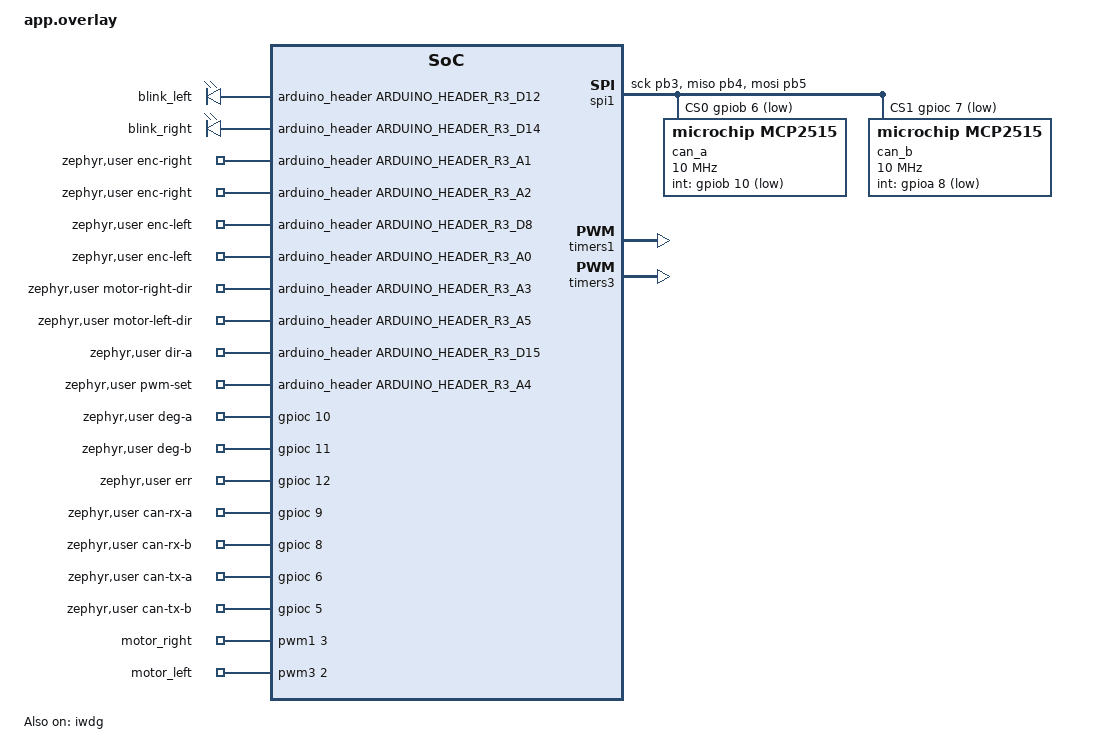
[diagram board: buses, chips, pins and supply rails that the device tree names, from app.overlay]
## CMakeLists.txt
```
cmake_minimum_required(VERSION 3.20.0)
find_package(Zephyr REQUIRED HINTS $ENV{ZEPHYR_BASE})
project(stm32_rear)

# N3, the drivetrain zone
target_compile_definitions(app PRIVATE NODE_ID=3)

set(COMMON ${CMAKE_CURRENT_SOURCE_DIR}/../stm32-common)

target_sources(app PRIVATE src/main.c src/drive.c src/motor.c src/encoder.c ${COMMON}/src/canbus.c ${COMMON}/src/relay.c
	${COMMON}/src/ctrl.c ${COMMON}/src/errorstate.c ${COMMON}/src/blinker.c)
target_include_directories(app PRIVATE include ${COMMON}/include)
```

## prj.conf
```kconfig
CONFIG_GPIO=y
CONFIG_PWM=y
CONFIG_CAN=y
CONFIG_CRC=y
CONFIG_WATCHDOG=y

# Debug: print the reset cause at boot (was it the watchdog?)
CONFIG_HWINFO=y

# Hardware floats for the PID; sharing so any thread may use them safely
CONFIG_FPU=y
CONFIG_FPU_SHARING=y

# main only does init and test prints: keep it below every app thread (1-3)
CONFIG_MAIN_THREAD_PRIORITY=10
```

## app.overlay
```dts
/*
 * N3 (rear, drivetrain) pin assignments for the Nucleo-F401RE.
 *
 * The CAN wiring is the same as the front node (stm32-front/app.overlay), so
 * both boards are wired the same way and stm32-can-test runs on either.
 * Lab 2 pins that sat on CAN pins were moved:
 *   left motor PWM D4 -> D11, motor dirs D3/D5 -> A3/A5, RL D11 -> D12,
 *   RR D10 -> D14, encoders D6/D7/D9 -> A0/A1/A2 (left A stays on D8).
 *
 * Pitfalls:
 * - The board file already gives many header pins to SPI/I2C/UART/PWM/ADC.
 *   The build does NOT flag two users of one pin; the last driver to set it
 *   wins. Before enabling a board peripheral, check its pins against this file.
 * - GPIOs use Arduino names (D2, A5); PWM pinctrl uses MCU names (PA10).
 *   Both refer to the same pins.
 * - STM32 has one EXTI line per pin number across all ports, so interrupt
 *   pins must all have different numbers. In use: CAN INT 10 and 8,
 *   encoders 9, 0, 1, 4, test button 13.
 * - The KiCad symbol calls D14/D15 "SDA/A4" and "SCL/A5". On the Nucleo they
 *   are PB9/PB8, separate from A4/A5 (PC1/PC0).
 */

/ {
	aliases {
		can-a = &can_a;
		can-b = &can_b;
	};
};

/* Both MCP2515s on SPI1, moved to D3-D5 to free D11-D13 */
&spi1 {
	status = "okay";
	pinctrl-0 = <&spi1_sck_pb3 &spi1_miso_pb4 &spi1_mosi_pb5>;	/* D3, D5, D4 */
	pinctrl-names = "default";

	/* Entry 0 -> reg <0>, entry 1 -> reg <1> */
	cs-gpios = <&gpiob 6 (GPIO_ACTIVE_LOW | GPIO_PULL_UP)>,	/* D10: CAN A CS */
		   <&gpioc 7 (GPIO_ACTIVE_LOW | GPIO_PULL_UP)>;	/* D9:  CAN B CS */

	can_a: mcp2515@0 {
		compatible = "microchip,mcp2515";
		reg = <0>;
		spi-max-frequency = <10000000>;
		int-gpios = <&gpiob 10 GPIO_ACTIVE_LOW>;	/* D6 */
		osc-freq = <16000000>;
		bitrate = <500000>;
		status = "okay";
	};

	can_b: mcp2515@1 {
		compatible = "microchip,mcp2515";
		reg = <1>;
		spi-max-frequency = <10000000>;
		int-gpios = <&gpioa 8 GPIO_ACTIVE_LOW>;		/* D7 */
		osc-freq = <16000000>;
		bitrate = <500000>;
		status = "okay";
	};
};

/* Board peripherals that claim pins we use */
&usart1 {	/* D10 */
	status = "disabled";
};

&pwm2 {		/* D13 */
	status = "disabled";
};

&i2c1 {		/* D14, D15 */
	status = "disabled";
};

&i2c3 {		/* D7 */
	status = "disabled";
};

&adc1 {		/* A0 */
	status = "disabled";
};

/* Right motor PWM: D2 = PA10 (L298N IN1) */
&timers1 {
	status = "okay";

	pwm1: pwm {
		status = "okay";
		pinctrl-0 = <&tim1_ch3_pa10>;
		pinctrl-names = "default";
	};
};

/* Left motor PWM: D11 = PA7 (L298N IN3), same timer channel as before */
&timers3 {
	status = "okay";

	pwm3: pwm {
		status = "okay";
		pinctrl-0 = <&tim3_ch2_pa7>;
		pinctrl-names = "default";
	};
};

/ {
	/* pin -> 4.7k -> LED -> GND, so high = on */
	blinkers {
		compatible = "gpio-leds";

		blink_left: blink_rl {
			gpios = <&arduino_header ARDUINO_HEADER_R3_D12 GPIO_ACTIVE_HIGH>;
		};

		blink_right: blink_rr {
			gpios = <&arduino_header ARDUINO_HEADER_R3_D14 GPIO_ACTIVE_HIGH>;
		};
	};

	zephyr,user {
		/* <A>, <B> */
		enc-right-gpios = <&arduino_header ARDUINO_HEADER_R3_A1 GPIO_ACTIVE_HIGH>,
				  <&arduino_header ARDUINO_HEADER_R3_A2 GPIO_ACTIVE_HIGH>;
		enc-left-gpios = <&arduino_header ARDUINO_HEADER_R3_D8 GPIO_ACTIVE_HIGH>,
				 <&arduino_header ARDUINO_HEADER_R3_A0 GPIO_ACTIVE_HIGH>;

		/* L298N IN2, IN4 (ENA/ENB tied high) */
		motor-right-dir-gpios = <&arduino_header ARDUINO_HEADER_R3_A3 GPIO_ACTIVE_HIGH>;
		motor-left-dir-gpios = <&arduino_header ARDUINO_HEADER_R3_A5 GPIO_ACTIVE_HIGH>;

		/* Test points */
		dir-a-gpios = <&arduino_header ARDUINO_HEADER_R3_D15 GPIO_ACTIVE_HIGH>;
		pwm-set-gpios = <&arduino_header ARDUINO_HEADER_R3_A4 GPIO_ACTIVE_HIGH>;

		/* Arduino header is full: morpho CN7 pins 1-3 */
		deg-a-gpios = <&gpioc 10 GPIO_ACTIVE_HIGH>;
		deg-b-gpios = <&gpioc 11 GPIO_ACTIVE_HIGH>;
		err-gpios = <&gpioc 12 GPIO_ACTIVE_HIGH>;

		/* Morpho CN10 pins 1, 2, 4, 6 */
		can-rx-a-gpios = <&gpioc 9 GPIO_ACTIVE_HIGH>;
		can-rx-b-gpios = <&gpioc 8 GPIO_ACTIVE_HIGH>;
		can-tx-a-gpios = <&gpioc 6 GPIO_ACTIVE_HIGH>;
		can-tx-b-gpios = <&gpioc 5 GPIO_ACTIVE_HIGH>;

		/* Motor period (20 kHz) is a placeholder */
		pwms = <&pwm1 3 PWM_USEC(50) PWM_POLARITY_NORMAL>,
		       <&pwm3 2 PWM_USEC(50) PWM_POLARITY_NORMAL>;
		pwm-names = "motor_right", "motor_left";
	};
};

&iwdg {
	status = "okay";
};
```

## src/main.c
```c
#include <errno.h>

#include <zephyr/kernel.h>
#include <zephyr/sys/printk.h>

#include "blinker.h"
#include "canbus.h"
#include "ctrl.h"
#include "drive.h"
#include "errorstate.h"

#define BRAKE_THRESHOLD 10	/* brake above 10% counts as pressed */

static void on_ctrl(const struct can_frame *f)
{
	struct ctrl c;
	int ret = ctrl_parse(f, &c);

	if (ret == -ERANGE) {
		errorstate_bad_ctrl();
	}
	if (ret != 0) {
		return;
	}

	/* First, so the drive has left the error state */
	errorstate_ctrl_ok();
	drive_command(c.throttle, c.brake > BRAKE_THRESHOLD);
}

int main(void)
{
	if (drive_init() != 0 || errorstate_init(drive_set_error) != 0 ||
	    blinker_init() != 0 ||
	    canbus_on(CAN_ID_CTRL, on_ctrl) != 0 || canbus_init() != 0) {
		printk("init failed\n");
		return 1;
	}

	return 0;
}
```

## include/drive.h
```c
#ifndef DRIVE_H
#define DRIVE_H

#include <stdbool.h>
#include <stdint.h>

/* Throttle: -100 = full reverse, 0 = stop, 100 = full forward */
#define DRIVE_THROTTLE_MAX 100

/* Start the velocity control loop; starts in the error state (braked) */
int drive_init(void);

/* Every valid CTRL; brake beats throttle. Ignored in the error state */
void drive_command(int32_t throttle, bool brake);

/* true = fail-safe (braked, commands ignored), false = back to normal */
void drive_set_error(bool error);

#endif
```

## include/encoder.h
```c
#ifndef ENCODER_H
#define ENCODER_H

#include <stdint.h>

enum side {
	SIDE_LEFT,
	SIDE_RIGHT,
};

/* Configure the A/B pins and their interrupts */
int encoder_init(void);

/* Velocity is the tick change over the last ENCODER_WINDOW samples */
#define ENCODER_SAMPLE_MS 1
#define ENCODER_WINDOW 10	/* 10 * 1 ms = 10 ms; full speed is ~71 */

/* Call every ENCODER_SAMPLE_MS from the control thread only */
void encoder_sample(void);

/* Ticks per ENCODER_WINDOW * ENCODER_SAMPLE_MS, as of the last sample */
int32_t encoder_velocity(enum side s);

#endif
```

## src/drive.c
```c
/*
 * Velocity control: throttle -> target velocity, PI on the average of the two
 * encoders, brake beats throttle.
 *
 * drive_command() and drive_set_error() only store the request. The control
 * thread, every 1 ms, is the only code that writes to the motors. PWM_SET
 * toggles on the tick that first applies a new command, so CAN_RX -> PWM_SET
 * on the scope is the node's response time. (DIR_A has no edge when braking
 * from forward: both hold DIR low.)
 */

#include <stdlib.h>

#include <zephyr/kernel.h>
#include <zephyr/drivers/gpio.h>

#include "drive.h"
#include "encoder.h"
#include "motor.h"

/* Linear: full throttle = 30 ticks per 10 ms (~40% of the measured max) */
#define MAX_VELOCITY 30.0f
#define THROTTLE_DEADBAND 2	/* |throttle| below this (i.e. +/-1%) means 0 */

/* PI gains: velocity error (ticks per 10 ms) -> duty. TODO (team): tune */
#define KP 20.0f
#define KI 100.0f

#define DT (ENCODER_SAMPLE_MS / 1000.0f)	/* seconds per tick */

static const struct gpio_dt_spec tp_pwm_set =
	GPIO_DT_SPEC_GET(DT_PATH(zephyr_user), pwm_set_gpios);

/* Shared between the control thread and callers, always under the lock */
static struct k_spinlock lock;
static int32_t throttle;
static bool brake;
static bool error = true;	/* power-up is the error state */
static uint32_t seq;		/* bumped on every accepted command */

/* Only touched by the control thread */
static float integral;

static float throttle_to_target(int32_t t)
{
	if (abs(t) < THROTTLE_DEADBAND) {
		return 0.0f;
	}

	return t * MAX_VELOCITY / DRIVE_THROTTLE_MAX;
}

static int32_t pi_update(float target, float velocity)
{
	float err = target - velocity;
	float out = KP * err + KI * integral;

	/* Anti-windup: don't integrate further into saturation */
	bool saturated = (out >= MOTOR_DUTY_MAX && err > 0) ||
			 (out <= -MOTOR_DUTY_MAX && err < 0);

	if (!saturated) {
		integral += err * DT;
	}

	return (int32_t)CLAMP(out, -MOTOR_DUTY_MAX, MOTOR_DUTY_MAX);
}

K_SEM_DEFINE(start_sem, 0, 1);
K_TIMER_DEFINE(loop_timer, NULL, NULL);

static void control_loop(void *p1, void *p2, void *p3)
{
	uint32_t applied_seq = 0;

	/* Wait until drive_init() has set up the motors and encoders */
	k_sem_take(&start_sem, K_FOREVER);
	k_timer_start(&loop_timer, K_MSEC(ENCODER_SAMPLE_MS), K_MSEC(ENCODER_SAMPLE_MS));

	while (1) {
		k_timer_status_sync(&loop_timer);
		encoder_sample();

		k_spinlock_key_t key = k_spin_lock(&lock);
		int32_t t = throttle;
		bool stop = brake || error;
		uint32_t s = seq;

		k_spin_unlock(&lock, key);

		if (stop) {
			motor_brake();
			integral = 0.0f;	/* so releasing the brake doesn't lurch */
		} else {
			float velocity = (encoder_velocity(SIDE_LEFT) +
					  encoder_velocity(SIDE_RIGHT)) / 2.0f;
			int32_t duty = pi_update(throttle_to_target(t), velocity);

			motor_set(SIDE_LEFT, duty);
			motor_set(SIDE_RIGHT, duty);
		}

		/* First write after a new command: mark it for the scope */
		if (s != applied_seq) {
			gpio_pin_toggle_dt(&tp_pwm_set);
			applied_seq = s;
		}
	}
}

/* Preemptive: higher-priority threads and ISRs can interrupt a tick */
K_THREAD_DEFINE(drive_thread, 1024, control_loop, NULL, NULL, NULL, K_PRIO_PREEMPT(2), 0, 0);

int drive_init(void)
{
	/* Motors first, so they're braked before anything else runs */
	int ret = motor_init();

	if (ret < 0) {
		return ret;
	}

	if (!gpio_is_ready_dt(&tp_pwm_set)) {
		return -ENODEV;
	}

	ret = gpio_pin_configure_dt(&tp_pwm_set, GPIO_OUTPUT_INACTIVE);
	if (ret < 0) {
		return ret;
	}

	ret = encoder_init();
	if (ret < 0) {
		return ret;
	}

	k_sem_give(&start_sem);
	return 0;
}

void drive_command(int32_t new_throttle, bool new_brake)
{
	k_spinlock_key_t key = k_spin_lock(&lock);

	/* Ignored in the error state */
	if (!error) {
		throttle = CLAMP(new_throttle, -DRIVE_THROTTLE_MAX, DRIVE_THROTTLE_MAX);
		brake = new_brake;
		seq++;
	}

	k_spin_unlock(&lock, key);
}

void drive_set_error(bool new_error)
{
	k_spinlock_key_t key = k_spin_lock(&lock);

	/* Either way, start again from a standstill */
	error = new_error;
	throttle = 0;
	brake = false;
	seq++;

	k_spin_unlock(&lock, key);
}
```

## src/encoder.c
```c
/*
 * Wheel encoders, x4 quadrature decoding in GPIO interrupts (the pins aren't
 * on a timer's encoder inputs). Every A/B edge interrupts, and a table turns
 * the old and new A/B state into +1, -1 or 0 (no change, or an invalid jump).
 */

#include <zephyr/kernel.h>
#include <zephyr/drivers/gpio.h>
#include <zephyr/sys/atomic.h>

#include "encoder.h"

#define USER_NODE DT_PATH(zephyr_user)

/* Indexed by enum side */
static const struct gpio_dt_spec enc_a[] = {
	[SIDE_LEFT] = GPIO_DT_SPEC_GET_BY_IDX(USER_NODE, enc_left_gpios, 0),
	[SIDE_RIGHT] = GPIO_DT_SPEC_GET_BY_IDX(USER_NODE, enc_right_gpios, 0),
};

static const struct gpio_dt_spec enc_b[] = {
	[SIDE_LEFT] = GPIO_DT_SPEC_GET_BY_IDX(USER_NODE, enc_left_gpios, 1),
	[SIDE_RIGHT] = GPIO_DT_SPEC_GET_BY_IDX(USER_NODE, enc_right_gpios, 1),
};

/* Set true for a side that counts down when the car rolls forward */
static const bool reversed[] = {
	[SIDE_LEFT] = true,
	[SIDE_RIGHT] = false,
};

/*
 * Index = previous state << 2 | new state, where state = A << 1 | B.
 * Forward is 00 -> 01 -> 11 -> 10 -> 00.
 */
static const int8_t step[16] = {
	 0, +1, -1,  0,
	-1,  0,  0, +1,
	+1,  0,  0, -1,
	 0, -1, +1,  0,
};

/* Read by threads, so atomic */
static atomic_t count[2];

/* Only touched by that side's ISRs, which all have the same priority, so
 * they can't preempt each other */
static uint8_t prev[2];

/* A and B of one encoder are on different ports: one callback per pin */
struct enc_cb {
	struct gpio_callback cb;
	enum side s;
};

static struct enc_cb callbacks[4];

static uint8_t read_state(enum side s)
{
	return (gpio_pin_get_dt(&enc_a[s]) << 1) | gpio_pin_get_dt(&enc_b[s]);
}

/* Runs in ISR context: two pin reads and an atomic add, nothing else */
static void on_edge(const struct device *port, struct gpio_callback *cb, gpio_port_pins_t pins)
{
	enum side s = CONTAINER_OF(cb, struct enc_cb, cb)->s;
	uint8_t cur = read_state(s);
	int8_t delta = step[(prev[s] << 2) | cur];

	prev[s] = cur;

	if (delta != 0) {
		atomic_add(&count[s], reversed[s] ? -delta : delta);
	}
}

int encoder_init(void)
{
	const struct gpio_dt_spec *pins[] = {
		&enc_a[SIDE_LEFT], &enc_b[SIDE_LEFT],
		&enc_a[SIDE_RIGHT], &enc_b[SIDE_RIGHT],
	};

	for (int i = 0; i < ARRAY_SIZE(pins); i++) {
		if (!gpio_is_ready_dt(pins[i])) {
			return -ENODEV;
		}

		int ret = gpio_pin_configure_dt(pins[i], GPIO_INPUT);

		if (ret < 0) {
			return ret;
		}
	}

	/* Start from the real pin levels so the first edge isn't miscounted */
	prev[SIDE_LEFT] = read_state(SIDE_LEFT);
	prev[SIDE_RIGHT] = read_state(SIDE_RIGHT);

	for (int i = 0; i < ARRAY_SIZE(pins); i++) {
		callbacks[i].s = (i < 2) ? SIDE_LEFT : SIDE_RIGHT;
		gpio_init_callback(&callbacks[i].cb, on_edge, BIT(pins[i]->pin));

		int ret = gpio_add_callback_dt(pins[i], &callbacks[i].cb);

		if (ret < 0) {
			return ret;
		}

		ret = gpio_pin_interrupt_configure_dt(pins[i], GPIO_INT_EDGE_BOTH);
		if (ret < 0) {
			return ret;
		}
	}

	return 0;
}

/*
 * Only the control thread calls encoder_sample() and encoder_velocity(), so
 * these need no lock. history[s][oldest] is the count from one window ago.
 */
static int32_t history[2][ENCODER_WINDOW];
static int32_t velocity[2];
static int oldest;

void encoder_sample(void)
{
	for (int s = 0; s < 2; s++) {
		int32_t now = atomic_get(&count[s]);

		velocity[s] = now - history[s][oldest];
		history[s][oldest] = now;
	}

	oldest = (oldest + 1) % ENCODER_WINDOW;
}

int32_t encoder_velocity(enum side s)
{
	return velocity[s];
}
```
